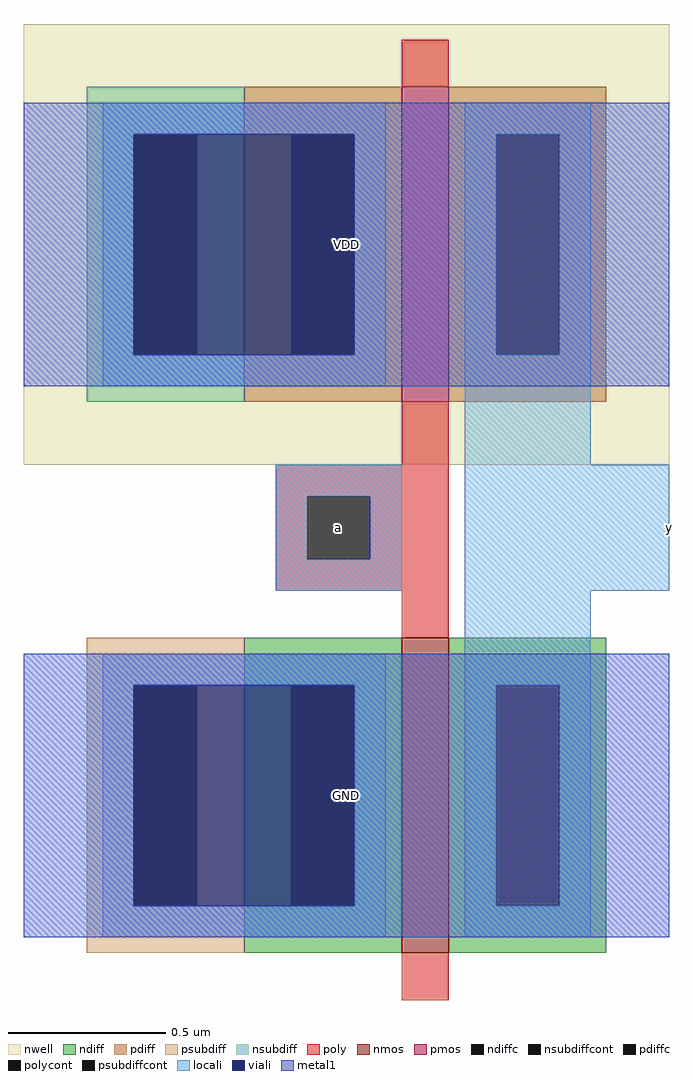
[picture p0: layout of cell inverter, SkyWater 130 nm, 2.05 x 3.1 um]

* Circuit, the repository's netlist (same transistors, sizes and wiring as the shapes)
* SPICE3 file created from inverter.ext - technology: sky130A

*.subckt inverter a y
X0 y a VDD VDD sky130_fd_pr__pfet_01v8 ad=0.5 pd=3 as=0.5 ps=3 w=1 l=0.15
X1 y a GND GND sky130_fd_pr__nfet_01v8 ad=0.5 pd=3 as=0.5 ps=3 w=1 l=0.15
*.ends

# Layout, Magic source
magic
tech sky130A
<< nwell >>
rect -120 135 85 275
<< nmos >>
rect 0 -20 15 80
<< pmos >>
rect 0 155 15 255
<< ndiff >>
rect -50 65 0 80
rect -50 -5 -35 65
rect -15 -5 0 65
rect -50 -20 0 -5
rect 15 65 65 80
rect 15 -5 30 65
rect 50 -5 65 65
rect 15 -20 65 -5
<< pdiff >>
rect -50 240 0 255
rect -50 170 -35 240
rect -15 170 0 240
rect -50 155 0 170
rect 15 240 65 255
rect 15 170 30 240
rect 50 170 65 240
rect 15 155 65 170
<< ndiffc >>
rect -35 -5 -15 65
rect 30 -5 50 65
<< pdiffc >>
rect -35 170 -15 240
rect 30 170 50 240
<< psubdiff >>
rect -100 65 -50 80
rect -100 -5 -85 65
rect -65 -5 -50 65
rect -100 -20 -50 -5
<< nsubdiff >>
rect -100 240 -50 255
rect -100 170 -85 240
rect -65 170 -50 240
rect -100 155 -50 170
<< psubdiffcont >>
rect -85 -5 -65 65
<< nsubdiffcont >>
rect -85 170 -65 240
<< poly >>
rect 0 255 15 270
rect 0 135 15 155
rect -40 125 15 135
rect -40 105 -30 125
rect -10 105 15 125
rect -40 95 15 105
rect 0 80 15 95
rect 0 -35 15 -20
<< polycont >>
rect -30 105 -10 125
<< locali >>
rect -95 240 -5 250
rect -95 170 -85 240
rect -15 170 -5 240
rect -95 160 -5 170
rect 20 240 60 250
rect 20 170 30 240
rect 50 170 60 240
rect 20 135 60 170
rect -40 125 0 135
rect -40 105 -30 125
rect -10 105 0 125
rect -40 95 0 105
rect 20 95 85 135
rect -95 65 -5 75
rect -95 -5 -85 65
rect -15 -5 -5 65
rect -95 -15 -5 -5
rect 20 65 60 95
rect 20 -5 30 65
rect 50 -5 60 65
rect 20 -15 60 -5
<< viali >>
rect -85 170 -65 240
rect -65 170 -35 240
rect -35 170 -15 240
rect -85 -5 -65 65
rect -65 -5 -35 65
rect -35 -5 -15 65
<< metal1 >>
rect -120 240 85 250
rect -120 170 -85 240
rect -15 170 85 240
rect -120 160 85 170
rect -120 65 85 75
rect -120 -5 -85 65
rect -15 -5 85 65
rect -120 -15 85 -5
<< labels >>
rlabel locali 85 95 85 135 3 y
port 2 e
rlabel metal1 -120 160 85 250 1 VDD
rlabel metal1 -120 -15 85 75 5 GND
rlabel locali -40 95 0 135 7 a
port 1 w
<< end >>
